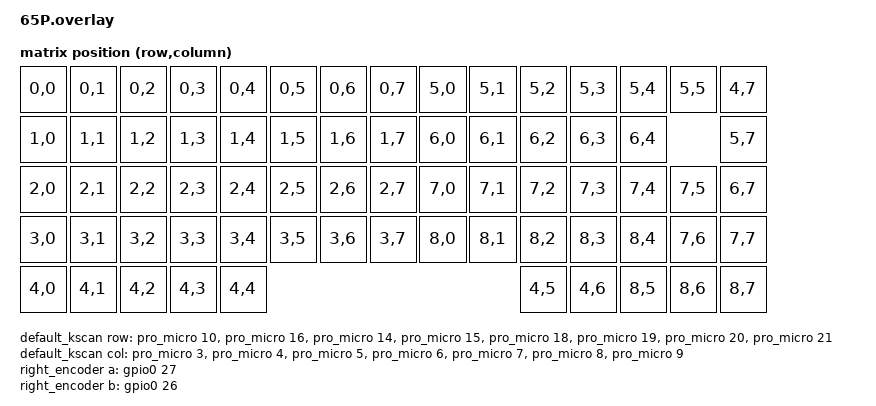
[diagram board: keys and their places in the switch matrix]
#include <dt-bindings/zmk/matrix_transform.h>
#include <dt-bindings/led/led.h>

/ {
    chosen {
        zmk,underglow = &led_strip;
        zmk,kscan = &default_kscan;
        zmk,matrix_transform = &default_transform;
    };

    default_kscan: kscan {
        compatible = "zmk,kscan-gpio-matrix";
        label = "default_kscan";
        diode-direction = "col2row";

        row-gpios = <&pro_micro 10 (GPIO_ACTIVE_HIGH | GPIO_PULL_DOWN)>,
                    <&pro_micro 16 (GPIO_ACTIVE_HIGH | GPIO_PULL_DOWN)>,
                    <&pro_micro 14 (GPIO_ACTIVE_HIGH | GPIO_PULL_DOWN)>
                    <&pro_micro 15 (GPIO_ACTIVE_HIGH | GPIO_PULL_DOWN)>
                    <&pro_micro 18 (GPIO_ACTIVE_HIGH | GPIO_PULL_DOWN)>
                    <&pro_micro 19 (GPIO_ACTIVE_HIGH | GPIO_PULL_DOWN)>
                    <&pro_micro 20 (GPIO_ACTIVE_HIGH | GPIO_PULL_DOWN)>
                    <&pro_micro 21 (GPIO_ACTIVE_HIGH | GPIO_PULL_DOWN)>;
        
        col-gpios = <&pro_micro 3 GPIO_ACTIVE_HIGH>,
                    <&pro_micro 4 GPIO_ACTIVE_HIGH>,
                    <&pro_micro 5 GPIO_ACTIVE_HIGH>,
                    <&pro_micro 6 GPIO_ACTIVE_HIGH>,
                    <&pro_micro 7 GPIO_ACTIVE_HIGH>
                    <&pro_micro 8 GPIO_ACTIVE_HIGH>
                    <&pro_micro 9 GPIO_ACTIVE_HIGH>;
    };

    default_transform: matrix_transform {
        compatible = "zmk,matrix-transform";
        rows = <2>;
        columns = <4>;

        map = <
        //  1                       2           3           4           5           6           7           8           9           10          11          12          13          14          15
            RC(0,0)                 RC(0,1)     RC(0,2)     RC(0,3)     RC(0,4)     RC(0,5)     RC(0,6)     RC(0,7)     RC(5,0)     RC(5,1)     RC(5,2)     RC(5,3)     RC(5,4)     RC(5,5)     RC(4,7)
        //  16                      17          18          19          20          21          22          23          24          25          26          27          28                      29
            RC(1,0)                 RC(1,1)     RC(1,2)     RC(1,3)     RC(1,4)     RC(1,5)     RC(1,6)     RC(1,7)     RC(6,0)     RC(6,1)     RC(6,2)     RC(6,3)     RC(6,4)                 RC(5,7)
        //  30                      31          32          33          34          35          36          37          38          39          40          41          42          43          44
            RC(2,0)                 RC(2,1)     RC(2,2)     RC(2,3)     RC(2,4)     RC(2,5)     RC(2,6)     RC(2,7)     RC(7,0)     RC(7,1)     RC(7,2)     RC(7,3)     RC(7,4)     RC(7,5)     RC(6,7)
        //  45          46          47          48          49          50          51          52          53          54          55          56          57                      58          59
            RC(3,0)     RC(3,1)     RC(3,2)     RC(3,3)     RC(3,4)     RC(3,5)     RC(3,6)     RC(3,7)     RC(8,0)     RC(8,1)     RC(8,2)     RC(8,3)     RC(8,4)                 RC(7,6)     RC(7,7)
        //  60          61          62          63                                  64                                              65          66          67                      68          69
            RC(4,0)     RC(4,1)     RC(4,2)     RC(4,3)                             RC(4,4)                                         RC(4,5)     RC(4,6)     RC(8,5)                 RC(8,6)   RC(8,7)
        // ------------------------------------------------------------------------------------------------
        // | ESC |  1  |  2  |  3  |  4  |  5  |  6  |  7  |  8  |  9  |  0  |  -  |  =  |   BSPC   | DEL |
        // | TAB   |  Q  |  W  |  E  |  R  |  T  |  Y  |  U  |  I  |  O  |  P  |  [  |  ]  |        | INS |
        // | CAPS   |  A  |  S  |  D  |  F  |  G  |  H  |  J  |  K  |  L  |  ;  |  '  |  ~  | ENTER | PGUP|
        // |SHIFT |  \  |  Z  |  X  |  C  |  V  |  B  |  N  |  M  |  ,  |  .  |  /  |  SHIFT  | UP  | PGDN|
        // |  CTL |  Fn | WIN | ALT |            SPACE                      | ALT |RCTRL| LEFT| DOWN|RIGHT|
        // ------------------------------------------------------------------------------------------------

        // ------------------------------------------------------------------------------------------------
        // |  1  |  2  |  3  |  4  |  5  |  6  |  7  |  8  |  9  | 10  |  11 |  12 |  13 |    14    |  15 |
        // | 16    |  17 |  18 |  19 |  20 |  21 |  22 |  23 |  24 |  25 |  26 |  27 |  28 |        |  29 |
        // | 30     |  31 |  32 |  33 |  34 |  35 |  36 |  37 |  38 |  39 |  40 |  41 |  42 |  43   |  44 |
        // | 45   |  46 |  47 |  48 |  49 |  50 |  51 |  52 |  53 |  54 |  55 |  56 |   57    |  58 |  59 |
        // | 60   |  61 |  62 |  63 |                64                     | 65  |  66 |  67 | 68  |  69 |
        // ------------------------------------------------------------------------------------------------
        >;
    };

    right_encoder: encoder_right {
        compatible = "alps,ec11";
        label = "RIGHT_ENCODER";
        a-gpios = <&gpio0 27 GPIO_PULL_UP>;
        b-gpios = <&gpio0 26 GPIO_PULL_UP>;
        steps = <120>;
    };

    sensors {
        compatible = "zmk,keymap-sensors";
        sensors = <&right_encoder>;
        triggers-per-rotation = <30>;
    };
};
